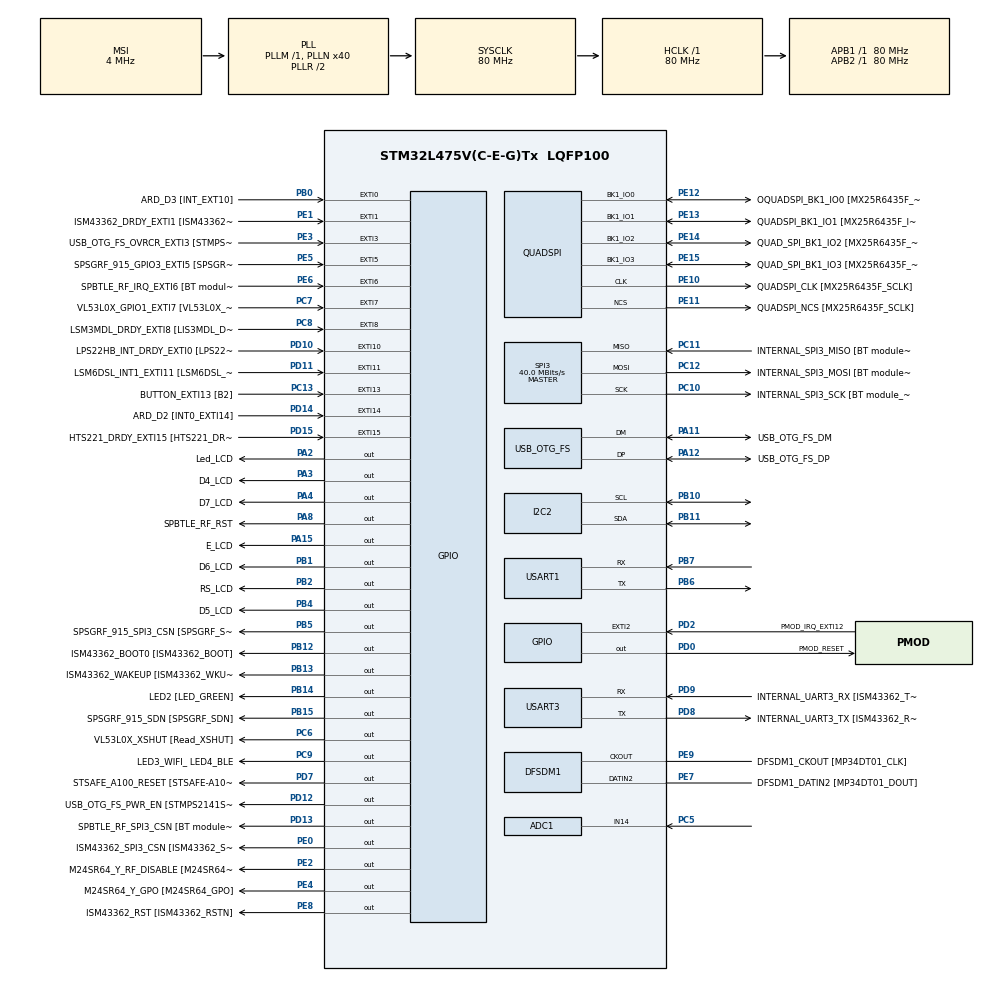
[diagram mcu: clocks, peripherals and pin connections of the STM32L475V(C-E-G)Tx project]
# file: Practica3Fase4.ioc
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ADC1.Channel-1\#ChannelRegularConversion=ADC_CHANNEL_14
ADC1.NbrOfConversionFlag=1
ADC1.OffsetNumber-1\#ChannelRegularConversion=ADC_OFFSET_NONE
ADC1.Rank-1\#ChannelRegularConversion=1
ADC1.SamplingTime-1\#ChannelRegularConversion=ADC_SAMPLETIME_2CYCLES_5
ADC1.master=1
I2C2.Timing=0x10909CEC
Mcu.Family=STM32L4
Mcu.Name=STM32L475V(C-E-G)Tx
Mcu.Package=LQFP100
NVIC.EXTI15_10_IRQn=true\:0\:0\:false\:false\:true\:true\:true\:true
NVIC.EXTI9_5_IRQn=true\:0\:0\:false\:false\:true\:true\:true\:true
NVIC.PriorityGroup=NVIC_PRIORITYGROUP_4
PA0.GPIO_Label=ARD_D1 [UART4_TX]
PA0.Signal=UART4_TX
PA1.GPIO_Label=ARD_D0 [UART4_RX]
PA1.Signal=UART4_RX
PA10.GPIO_Label=USB_OTG_FS_ID
PA10.Signal=USB_OTG_FS_ID
PA11.GPIO_Label=USB_OTG_FS_DM
PA11.Mode=Device_Only
PA11.Signal=USB_OTG_FS_DM
PA12.GPIO_Label=USB_OTG_FS_DP
PA12.Mode=Device_Only
PA12.Signal=USB_OTG_FS_DP
PA13\ (JTMS-SWDIO).GPIO_Label=SYS_JTMS_SWDIO
PA13\ (JTMS-SWDIO).Mode=Serial_Wire
PA13\ (JTMS-SWDIO).Signal=SYS_JTMS-SWDIO
PA14\ (JTCK-SWCLK).GPIO_Label=SYS_JTCK_SWCLK
PA14\ (JTCK-SWCLK).Mode=Serial_Wire
PA14\ (JTCK-SWCLK).Signal=SYS_JTCK-SWCLK
PA15\ (JTDI).GPIO_Label=E_LCD
PA15\ (JTDI).Signal=GPIO_Output
PA2.GPIO_Label=Led_LCD
PA2.Signal=GPIO_Output
PA3.GPIO_Label=D4_LCD
PA3.Signal=GPIO_Output
PA4.GPIO_Label=D7_LCD
PA4.Signal=GPIO_Output
PA5.GPIO_Label=ARD_D13 [SPI1_SCK]
PA5.Signal=SPI1_SCK
PA6.GPIO_Label=ARD_D12 [SPI1_MISO]
PA6.Signal=SPI1_MISO
PA7.GPIO_Label=ARD_D11 [SPI1_MOSI]
PA7.Signal=SPI1_MOSI
PA8.GPIO_Label=SPBTLE_RF_RST
PA8.Signal=GPIO_Output
PA9.GPIO_Label=USB_OTG_FS_VBUS [STMPS2141STR_OUT]
PA9.Signal=USB_OTG_FS_VBUS
PB0.GPIO_Label=ARD_D3 [INT_EXT10]
PB0.Signal=GPXTI0
PB1.GPIO_Label=D6_LCD
PB1.Signal=GPIO_Output
PB10.Mode=I2C
PB10.Signal=I2C2_SCL
PB11.Mode=I2C
PB11.Signal=I2C2_SDA
PB12.GPIO_Label=ISM43362_BOOT0 [ISM43362_BOOT]
PB12.Signal=GPIO_Output
PB13.GPIO_Label=ISM43362_WAKEUP [ISM43362_WKUP]
PB13.Signal=GPIO_Output
PB14.GPIO_Label=LED2 [LED_GREEN]
PB14.Signal=GPIO_Output
PB15.GPIO_Label=SPSGRF_915_SDN [SPSGRF_SDN]
PB15.Signal=GPIO_Output
PB2.GPIO_Label=RS_LCD
PB2.Signal=GPIO_Output
PB3\ (JTDO-TRACESWO).GPIO_Label=SYS_JTD0_SWO
PB3\ (JTDO-TRACESWO).Signal=SYS_JTDO-SWO
PB4\ (NJTRST).GPIO_Label=D5_LCD
PB4\ (NJTRST).Signal=GPIO_Output
PB5.GPIO_Label=SPSGRF_915_SPI3_CSN [SPSGRF_SPI_CS]
PB5.PinState=GPIO_PIN_SET
PB5.Signal=GPIO_Output
PB6.Mode=Asynchronous
PB6.Signal=USART1_TX
PB7.Mode=Asynchronous
PB7.Signal=USART1_RX
PB9.GPIO_Label=ARD_D14 [I2C1_SDA]
PB9.Signal=I2C1_SDA
PC0.GPIO_Label=ARD_A5 [ADC]
PC0.Signal=ADCx_IN1
PC1.GPIO_Label=ARD_A4 [ADC]
PC1.Signal=ADCx_IN2
PC10.GPIO_Label=INTERNAL_SPI3_SCK [BT module_SPI_SCLK] [ISM43362_SCK]
PC10.Mode=Full_Duplex_Master
PC10.Signal=SPI3_SCK
PC11.GPIO_Label=INTERNAL_SPI3_MISO [BT module_SPI_MISO] [ISM43362_MISO]
PC11.Mode=Full_Duplex_Master
PC11.Signal=SPI3_MISO
PC12.GPIO_Label=INTERNAL_SPI3_MOSI [BT module_SPI_MOSI] [ISM43362_MOSI]
PC12.Mode=Full_Duplex_Master
PC12.Signal=SPI3_MOSI
PC13.GPIO_Label=BUTTON_EXTI13 [B2]
PC13.GPIO_ModeDefaultEXTI=GPIO_MODE_IT_FALLING
PC13.Signal=GPXTI13
PC14-OSC32_IN\ (PC14).Mode=LSE-External-Oscillator
PC14-OSC32_IN\ (PC14).Signal=RCC_OSC32_IN
PC15-OSC32_OUT\ (PC15).Mode=LSE-External-Oscillator
PC15-OSC32_OUT\ (PC15).Signal=RCC_OSC32_OUT
PC2.GPIO_Label=ARD_A3 [ADC]
PC2.Signal=ADCx_IN3
PC3.GPIO_Label=ARD_A2 [ADC]
PC3.Signal=ADCx_IN4
PC5.Signal=ADCx_IN14
PC6.GPIO_Label=VL53L0X_XSHUT [Read_XSHUT]
PC6.Signal=GPIO_Output
PC7.GPIO_Label=VL53L0X_GPIO1_EXTI7 [VL53L0X_GPIO1]
PC7.Signal=GPXTI7
PC8.GPIO_Label=LSM3MDL_DRDY_EXTI8 [LIS3MDL_DRDY]
PC8.Signal=GPXTI8
PC9.GPIO_Label=LED3_WIFI_ LED4_BLE
PC9.Signal=GPIO_Output
PD0.GPIO_Label=PMOD_RESET
PD0.Signal=GPIO_Output
PD1.GPIO_Label=PMOD_SPI2_SCK
PD1.Signal=SPI2_SCK
PD10.GPIO_Label=LPS22HB_INT_DRDY_EXTI0 [LPS22HB_INT_DRDY] 
PD10.Signal=GPXTI10
PD11.GPIO_Label=LSM6DSL_INT1_EXTI11 [LSM6DSL_INT1]
PD11.Signal=GPXTI11
PD12.GPIO_Label=USB_OTG_FS_PWR_EN [STMPS2141STR_EN]
PD12.Signal=GPIO_Output
PD13.GPIO_Label=SPBTLE_RF_SPI3_CSN [BT module_SPI_CS]
PD13.PinState=GPIO_PIN_SET
PD13.Signal=GPIO_Output
PD14.GPIO_Label=ARD_D2 [INT0_EXTI14]
PD14.Signal=GPXTI14
PD15.GPIO_Label=HTS221_DRDY_EXTI15 [HTS221_DRDY]
PD15.Signal=GPXTI15
PD2.GPIO_Label=PMOD_IRQ_EXTI12
PD2.Signal=GPXTI2
PD3.GPIO_Label=PMOD_UART2_CTS
PD3.Signal=USART2_CTS
PD4.GPIO_Label=PMOD_UART2_RTS
PD4.Signal=USART2_RTS
PD5.GPIO_Label=PMOD_UART2_TX
PD5.Signal=USART2_TX
PD6.GPIO_Label=PMOD_UART2_RX
PD6.Signal=USART2_RX
PD7.GPIO_Label=STSAFE_A100_RESET [STSAFE-A100_RESET]
PD7.Signal=GPIO_Output
PD8.GPIO_Label=INTERNAL_UART3_TX [ISM43362_RX]
PD8.Mode=Asynchronous
PD8.Signal=USART3_TX
PD9.GPIO_Label=INTERNAL_UART3_RX [ISM43362_TX]
PD9.Mode=Asynchronous
PD9.Signal=USART3_RX
PE0.GPIO_Label=ISM43362_SPI3_CSN [ISM43362_SSN]
PE0.PinState=GPIO_PIN_SET
PE0.Signal=GPIO_Output
PE1.GPIO_Label=ISM43362_DRDY_EXTI1 [ISM43362_DATARDY]
PE1.Signal=GPXTI1
PE10.GPIO_Label=QUADSPI_CLK [MX25R6435F_SCLK]
PE10.Mode=Single Bank
PE10.Signal=QUADSPI_CLK
PE11.GPIO_Label=QUADSPI_NCS [MX25R6435F_SCLK]
PE11.Mode=Single Bank
PE11.Signal=QUADSPI_NCS
PE12.GPIO_Label=OQUADSPI_BK1_IO0 [MX25R6435F_IO0]
PE12.Mode=Single Bank
PE12.Signal=QUADSPI_BK1_IO0
PE13.GPIO_Label=QUADSPI_BK1_IO1 [MX25R6435F_IO1]
PE13.Mode=Single Bank
PE13.Signal=QUADSPI_BK1_IO1
PE14.GPIO_Label=QUAD_SPI_BK1_IO2 [MX25R6435F_IO2]
PE14.Mode=Single Bank
PE14.Signal=QUADSPI_BK1_IO2
PE15.GPIO_Label=QUAD_SPI_BK1_IO3 [MX25R6435F_IO3]
PE15.Mode=Single Bank
PE15.Signal=QUADSPI_BK1_IO3
PE2.GPIO_Label=M24SR64_Y_RF_DISABLE [M24SR64_RFDIS]
PE2.Signal=GPIO_Output
PE3.GPIO_Label=USB_OTG_FS_OVRCR_EXTI3 [STMPS2141STR_FAULT]
PE3.Signal=GPXTI3
PE4.GPIO_Label=M24SR64_Y_GPO [M24SR64_GPO]
PE4.Signal=GPIO_Output
PE5.GPIO_Label=SPSGRF_915_GPIO3_EXTI5 [SPSGRF_GPIO_3]
PE5.Signal=GPXTI5
PE6.GPIO_Label=SPBTLE_RF_IRQ_EXTI6 [BT module_SPI_IRQ]
PE6.Signal=GPXTI6
PE7.GPIO_Label=DFSDM1_DATIN2 [MP34DT01_DOUT]
PE7.Signal=S_DATAIN2DFSDM1
PE8.GPIO_Label=ISM43362_RST [ISM43362_RSTN]
PE8.Signal=GPIO_Output
PE9.GPIO_Label=DFSDM1_CKOUT [MP34DT01_CLK]
PE9.Signal=S_CKOUTDFSDM1
ProjectManager.HeapSize=0x200
ProjectManager.StackSize=0x400
ProjectManager.TargetToolchain=STM32CubeIDE
QUADSPI.ClockPrescaler=2
QUADSPI.FifoThreshold=4
QUADSPI.FlashSize=23
QUADSPI.SampleShifting=QSPI_SAMPLE_SHIFTING_HALFCYCLE
RCC.ADCFreq_Value=48000000
RCC.AHBFreq_Value=80000000
RCC.APB1Freq_Value=80000000
RCC.APB1TimFreq_Value=80000000
RCC.APB2Freq_Value=80000000
RCC.APB2TimFreq_Value=80000000
RCC.CortexFreq_Value=80000000
RCC.HCLKFreq_Value=80000000
RCC.HSE_VALUE=8000000
RCC.HSI_VALUE=16000000
RCC.MSI_VALUE=4000000
RCC.PLLN=40
RCC.PLLSAI1N=24
RCC.SYSCLKFreq_VALUE=80000000
RCC.SYSCLKSource=RCC_SYSCLKSOURCE_PLLCLK
RCC.USBFreq_Value=48000000
RCC.VCOOutputFreq_Value=160000000
SH.ADCx_IN1.0=ADC1_IN1
SH.ADCx_IN14.0=ADC1_IN14,IN14-Single-Ended
SH.ADCx_IN2.0=ADC1_IN2
SH.ADCx_IN3.0=ADC1_IN3
SH.ADCx_IN4.0=ADC1_IN4
SH.S_CKOUTDFSDM1.0=DFSDM1_CKOUT,CKOUT
SH.S_CKOUTDFSDM1.1=DFSDM1_CKOUT,PDM_SPI_Input_from_ch12_and_Internal_Clock
SH.S_DATAIN2DFSDM1.0=DFSDM1_DATIN2,PDM_SPI_Input_from_ch12_and_Internal_Clock
SPI3.CalculateBaudRate=40.0 MBits/s
SPI3.Direction=SPI_DIRECTION_2LINES
SPI3.Mode=SPI_MODE_MASTER
SPI3.VirtualType=VM_MASTER
USART1.VirtualMode-Asynchronous=VM_ASYNC
USART3.VirtualMode-Asynchronous=VM_ASYNC
USB_OTG_FS.VirtualMode=Device_Only
board=B-L475E-IOT01A2

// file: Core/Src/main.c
/* USER CODE BEGIN Header */
/**
  ******************************************************************************
  * @file           : main.c
  * @brief          : Main program body
  ******************************************************************************
  * @attention
  *
  * Copyright (c) 2024 STMicroelectronics.
  * All rights reserved.
  *
  * This software is licensed under terms that can be found in the LICENSE file
  * in the root directory of this software component.
  * If no LICENSE file comes with this software, it is provided AS-IS.
  *
  ******************************************************************************
  */
/* USER CODE END Header */
#include "main.h"

/* USER CODE BEGIN Includes */
#include "hd44780.h"
#include "LPS22.h"
#include "HTS221.h"
#include "float.h"
#include "stdio.h"
/* USER CODE END Includes */

ADC_HandleTypeDef hadc1;

DFSDM_Channel_HandleTypeDef hdfsdm1_channel1;

I2C_HandleTypeDef hi2c2;

QSPI_HandleTypeDef hqspi;

SPI_HandleTypeDef hspi3;

UART_HandleTypeDef huart1;
UART_HandleTypeDef huart3;

PCD_HandleTypeDef hpcd_USB_OTG_FS;

/* USER CODE BEGIN PV */
#ifdef __GNUC__
/* With GCC/RAISONANCE, small printf (option LD Linker->Libraries->Small printf
set to 'Yes') calls __io_putchar() */
#define PUTCHAR_PROTOTYPE int __io_putchar(int ch)
#else
#define PUTCHAR_PROTOTYPE int fputc(int ch, FILE *f)
#endif /* __GNUC__ */
PUTCHAR_PROTOTYPE{
HAL_UART_Transmit(&huart1,(uint8_t *) &ch,1,2);
return ch;
}
/* USER CODE END PV */

void SystemClock_Config(void);
void PeriphCommonClock_Config(void);
static void MX_GPIO_Init(void);
static void MX_DFSDM1_Init(void);
static void MX_QUADSPI_Init(void);
static void MX_SPI3_Init(void);
static void MX_USART3_UART_Init(void);
static void MX_USB_OTG_FS_PCD_Init(void);
static void MX_ADC1_Init(void);
static void MX_I2C2_Init(void);
static void MX_USART1_UART_Init(void);

/* USER CODE BEGIN 0 */
void ini_lcd() {
	lcd_reset();
	lcd_display_settings(1, 0, 0);
	lcd_clear();
}
uint8_t getButton(uint16_t sample) {
	// uint8_t getButton(uint32_t sample)
	// uint8_t getButton(uint16_t sample)
	//da errores si las declaramos de esta forma
	uint8_t res = 0;
	if (sample == 4095) {
		res = 0;
	} else if (sample >= 700 && sample <= 720) {
		// boton up
		res = 2;
	} else if (sample >= 1618 && sample <= 1630) {
		//boton down
		res = 3;
	} else if (sample >= 2380 && sample <= 2400) {
		// boton left
		res = 4;
	} else if (sample >= 3350 && sample <= 3380) {
		// select 3366
		res = 5;
	} else if (sample >= 0 && sample <= 100) {
		//boton right 000
		res = 1;
	}
	return res;
}
/* USER CODE END 0 */

int main(void)
{

  /* MCU Configuration--------------------------------------------------------*/

  /* Reset of all peripherals, Initializes the Flash interface and the Systick. */
  HAL_Init();

  /* Configure the system clock */
  SystemClock_Config();

/* Configure the peripherals common clocks */
  PeriphCommonClock_Config();

  /* Initialize all configured peripherals */
  MX_GPIO_Init();
  MX_DFSDM1_Init();
  MX_QUADSPI_Init();
  MX_SPI3_Init();
  MX_USART3_UART_Init();
  MX_USB_OTG_FS_PCD_Init();
  MX_ADC1_Init();
  MX_I2C2_Init();
  MX_USART1_UART_Init();
  /* USER CODE BEGIN 2 */
  // inicializamos el lcd
  	ini_lcd();
  //inicializamos el LPS22H
  	LPS22_Init();
  	//inicializamos el HTS221_InitSs
  	HTS221_Init();
  /* USER CODE END 2 */

  /* Infinite loop */
  /* USER CODE BEGIN WHILE */
  while (1)
  {

	  float press;
	  float temp;
	  float hum;
	  char str[40];

	  // leemos el boton
		HAL_ADC_Start(&hadc1);
		HAL_ADC_PollForConversion(&hadc1, 100);
		uint16_t sample = HAL_ADC_GetValue(&hadc1);
		uint8_t boton = getButton(sample);
	  // leemos la presion
		press = LPS22_ReadPress();
	  // leemos la temp y humedad
		THSample aux = HTS221_Read();
		temp = aux.temp;
		hum = aux.hum;
		// formateamos y enviamos
	  printf("Pres:%.1hfPA T:%1fC H:%.1f%% B: %d\r\n",press,temp,hum,boton);
	  HAL_UART_Transmit(&huart1, str, strlen(str), 1000);
	  // esperamos
	  	  HAL_Delay(500);
    /* USER CODE END WHILE */

  }
}

void SystemClock_Config(void)
{
  RCC_OscInitTypeDef RCC_OscInitStruct = {0};
  RCC_ClkInitTypeDef RCC_ClkInitStruct = {0};

  /** Configure the main internal regulator output voltage
  */
  if (HAL_PWREx_ControlVoltageScaling(PWR_REGULATOR_VOLTAGE_SCALE1) != HAL_OK)
  {
    Error_Handler();
  }

  /** Configure LSE Drive Capability
  */
  HAL_PWR_EnableBkUpAccess();
  __HAL_RCC_LSEDRIVE_CONFIG(RCC_LSEDRIVE_LOW);

  /** Initializes the RCC Oscillators according to the specified parameters
  * in the RCC_OscInitTypeDef structure.
  */
  RCC_OscInitStruct.OscillatorType = RCC_OSCILLATORTYPE_LSE|RCC_OSCILLATORTYPE_MSI;
  RCC_OscInitStruct.LSEState = RCC_LSE_ON;
  RCC_OscInitStruct.MSIState = RCC_MSI_ON;
  RCC_OscInitStruct.MSICalibrationValue = 0;
  RCC_OscInitStruct.MSIClockRange = RCC_MSIRANGE_6;
  RCC_OscInitStruct.PLL.PLLState = RCC_PLL_ON;
  RCC_OscInitStruct.PLL.PLLSource = RCC_PLLSOURCE_MSI;
  RCC_OscInitStruct.PLL.PLLM = 1;
  RCC_OscInitStruct.PLL.PLLN = 40;
  RCC_OscInitStruct.PLL.PLLP = RCC_PLLP_DIV7;
  RCC_OscInitStruct.PLL.PLLQ = RCC_PLLQ_DIV2;
  RCC_OscInitStruct.PLL.PLLR = RCC_PLLR_DIV2;
  if (HAL_RCC_OscConfig(&RCC_OscInitStruct) != HAL_OK)
  {
    Error_Handler();
  }

  /** Initializes the CPU, AHB and APB buses clocks
  */
  RCC_ClkInitStruct.ClockType = RCC_CLOCKTYPE_HCLK|RCC_CLOCKTYPE_SYSCLK
                              |RCC_CLOCKTYPE_PCLK1|RCC_CLOCKTYPE_PCLK2;
  RCC_ClkInitStruct.SYSCLKSource = RCC_SYSCLKSOURCE_PLLCLK;
  RCC_ClkInitStruct.AHBCLKDivider = RCC_SYSCLK_DIV1;
  RCC_ClkInitStruct.APB1CLKDivider = RCC_HCLK_DIV1;
  RCC_ClkInitStruct.APB2CLKDivider = RCC_HCLK_DIV1;

  if (HAL_RCC_ClockConfig(&RCC_ClkInitStruct, FLASH_LATENCY_4) != HAL_OK)
  {
    Error_Handler();
  }

  /** Enable MSI Auto calibration
  */
  HAL_RCCEx_EnableMSIPLLMode();
}

void PeriphCommonClock_Config(void)
{
  RCC_PeriphCLKInitTypeDef PeriphClkInit = {0};

  /** Initializes the peripherals clock
  */
  PeriphClkInit.PeriphClockSelection = RCC_PERIPHCLK_USB|RCC_PERIPHCLK_ADC;
  PeriphClkInit.AdcClockSelection = RCC_ADCCLKSOURCE_PLLSAI1;
  PeriphClkInit.UsbClockSelection = RCC_USBCLKSOURCE_PLLSAI1;
  PeriphClkInit.PLLSAI1.PLLSAI1Source = RCC_PLLSOURCE_MSI;
  PeriphClkInit.PLLSAI1.PLLSAI1M = 1;
  PeriphClkInit.PLLSAI1.PLLSAI1N = 24;
  PeriphClkInit.PLLSAI1.PLLSAI1P = RCC_PLLP_DIV7;
  PeriphClkInit.PLLSAI1.PLLSAI1Q = RCC_PLLQ_DIV2;
  PeriphClkInit.PLLSAI1.PLLSAI1R = RCC_PLLR_DIV2;
  PeriphClkInit.PLLSAI1.PLLSAI1ClockOut = RCC_PLLSAI1_48M2CLK|RCC_PLLSAI1_ADC1CLK;
  if (HAL_RCCEx_PeriphCLKConfig(&PeriphClkInit) != HAL_OK)
  {
    Error_Handler();
  }
}

static void MX_ADC1_Init(void)
{

  ADC_MultiModeTypeDef multimode = {0};
  ADC_ChannelConfTypeDef sConfig = {0};

  /** Common config
  */
  hadc1.Instance = ADC1;
  hadc1.Init.ClockPrescaler = ADC_CLOCK_ASYNC_DIV1;
  hadc1.Init.Resolution = ADC_RESOLUTION_12B;
  hadc1.Init.DataAlign = ADC_DATAALIGN_RIGHT;
  hadc1.Init.ScanConvMode = ADC_SCAN_DISABLE;
  hadc1.Init.EOCSelection = ADC_EOC_SINGLE_CONV;
  hadc1.Init.LowPowerAutoWait = DISABLE;
  hadc1.Init.ContinuousConvMode = DISABLE;
  hadc1.Init.NbrOfConversion = 1;
  hadc1.Init.DiscontinuousConvMode = DISABLE;
  hadc1.Init.ExternalTrigConv = ADC_SOFTWARE_START;
  hadc1.Init.ExternalTrigConvEdge = ADC_EXTERNALTRIGCONVEDGE_NONE;
  hadc1.Init.DMAContinuousRequests = DISABLE;
  hadc1.Init.Overrun = ADC_OVR_DATA_PRESERVED;
  hadc1.Init.OversamplingMode = DISABLE;
  if (HAL_ADC_Init(&hadc1) != HAL_OK)
  {
    Error_Handler();
  }

  /** Configure the ADC multi-mode
  */
  multimode.Mode = ADC_MODE_INDEPENDENT;
  if (HAL_ADCEx_MultiModeConfigChannel(&hadc1, &multimode) != HAL_OK)
  {
    Error_Handler();
  }

  /** Configure Regular Channel
  */
  sConfig.Channel = ADC_CHANNEL_14;
  sConfig.Rank = ADC_REGULAR_RANK_1;
  sConfig.SamplingTime = ADC_SAMPLETIME_2CYCLES_5;
  sConfig.SingleDiff = ADC_SINGLE_ENDED;
  sConfig.OffsetNumber = ADC_OFFSET_NONE;
  sConfig.Offset = 0;
  if (HAL_ADC_ConfigChannel(&hadc1, &sConfig) != HAL_OK)
  {
    Error_Handler();
  }

}

static void MX_DFSDM1_Init(void)
{

  hdfsdm1_channel1.Instance = DFSDM1_Channel1;
  hdfsdm1_channel1.Init.OutputClock.Activation = ENABLE;
  hdfsdm1_channel1.Init.OutputClock.Selection = DFSDM_CHANNEL_OUTPUT_CLOCK_SYSTEM;
  hdfsdm1_channel1.Init.OutputClock.Divider = 2;
  hdfsdm1_channel1.Init.Input.Multiplexer = DFSDM_CHANNEL_EXTERNAL_INPUTS;
  hdfsdm1_channel1.Init.Input.DataPacking = DFSDM_CHANNEL_STANDARD_MODE;
  hdfsdm1_channel1.Init.Input.Pins = DFSDM_CHANNEL_FOLLOWING_CHANNEL_PINS;
  hdfsdm1_channel1.Init.SerialInterface.Type = DFSDM_CHANNEL_SPI_RISING;
  hdfsdm1_channel1.Init.SerialInterface.SpiClock = DFSDM_CHANNEL_SPI_CLOCK_INTERNAL;
  hdfsdm1_channel1.Init.Awd.FilterOrder = DFSDM_CHANNEL_FASTSINC_ORDER;
  hdfsdm1_channel1.Init.Awd.Oversampling = 1;
  hdfsdm1_channel1.Init.Offset = 0;
  hdfsdm1_channel1.Init.RightBitShift = 0x00;
  if (HAL_DFSDM_ChannelInit(&hdfsdm1_channel1) != HAL_OK)
  {
    Error_Handler();
  }

}

static void MX_I2C2_Init(void)
{

  hi2c2.Instance = I2C2;
  hi2c2.Init.Timing = 0x10909CEC;
  hi2c2.Init.OwnAddress1 = 0;
  hi2c2.Init.AddressingMode = I2C_ADDRESSINGMODE_7BIT;
  hi2c2.Init.DualAddressMode = I2C_DUALADDRESS_DISABLE;
  hi2c2.Init.OwnAddress2 = 0;
  hi2c2.Init.OwnAddress2Masks = I2C_OA2_NOMASK;
  hi2c2.Init.GeneralCallMode = I2C_GENERALCALL_DISABLE;
  hi2c2.Init.NoStretchMode = I2C_NOSTRETCH_DISABLE;
  if (HAL_I2C_Init(&hi2c2) != HAL_OK)
  {
    Error_Handler();
  }

  /** Configure Analogue filter
  */
  if (HAL_I2CEx_ConfigAnalogFilter(&hi2c2, I2C_ANALOGFILTER_ENABLE) != HAL_OK)
  {
    Error_Handler();
  }

  /** Configure Digital filter
  */
  if (HAL_I2CEx_ConfigDigitalFilter(&hi2c2, 0) != HAL_OK)
  {
    Error_Handler();
  }

}

static void MX_QUADSPI_Init(void)
{

  /* QUADSPI parameter configuration*/
  hqspi.Instance = QUADSPI;
  hqspi.Init.ClockPrescaler = 2;
  hqspi.Init.FifoThreshold = 4;
  hqspi.Init.SampleShifting = QSPI_SAMPLE_SHIFTING_HALFCYCLE;
  hqspi.Init.FlashSize = 23;
  hqspi.Init.ChipSelectHighTime = QSPI_CS_HIGH_TIME_1_CYCLE;
  hqspi.Init.ClockMode = QSPI_CLOCK_MODE_0;
  if (HAL_QSPI_Init(&hqspi) != HAL_OK)
  {
    Error_Handler();
  }

}

static void MX_SPI3_Init(void)
{

  /* SPI3 parameter configuration*/
  hspi3.Instance = SPI3;
  hspi3.Init.Mode = SPI_MODE_MASTER;
  hspi3.Init.Direction = SPI_DIRECTION_2LINES;
  hspi3.Init.DataSize = SPI_DATASIZE_4BIT;
  hspi3.Init.CLKPolarity = SPI_POLARITY_LOW;
  hspi3.Init.CLKPhase = SPI_PHASE_1EDGE;
  hspi3.Init.NSS = SPI_NSS_SOFT;
  hspi3.Init.BaudRatePrescaler = SPI_BAUDRATEPRESCALER_2;
  hspi3.Init.FirstBit = SPI_FIRSTBIT_MSB;
  hspi3.Init.TIMode = SPI_TIMODE_DISABLE;
  hspi3.Init.CRCCalculation = SPI_CRCCALCULATION_DISABLE;
  hspi3.Init.CRCPolynomial = 7;
  hspi3.Init.CRCLength = SPI_CRC_LENGTH_DATASIZE;
  hspi3.Init.NSSPMode = SPI_NSS_PULSE_ENABLE;
  if (HAL_SPI_Init(&hspi3) != HAL_OK)
  {
    Error_Handler();
  }

}

static void MX_USART1_UART_Init(void)
{

  huart1.Instance = USART1;
  huart1.Init.BaudRate = 115200;
  huart1.Init.WordLength = UART_WORDLENGTH_8B;
  huart1.Init.StopBits = UART_STOPBITS_1;
  huart1.Init.Parity = UART_PARITY_NONE;
  huart1.Init.Mode = UART_MODE_TX_RX;
  huart1.Init.HwFlowCtl = UART_HWCONTROL_NONE;
  huart1.Init.OverSampling = UART_OVERSAMPLING_16;
  huart1.Init.OneBitSampling = UART_ONE_BIT_SAMPLE_DISABLE;
  huart1.AdvancedInit.AdvFeatureInit = UART_ADVFEATURE_NO_INIT;
  if (HAL_UART_Init(&huart1) != HAL_OK)
  {
    Error_Handler();
  }

}

static void MX_USART3_UART_Init(void)
{

  huart3.Instance = USART3;
  huart3.Init.BaudRate = 115200;
  huart3.Init.WordLength = UART_WORDLENGTH_8B;
  huart3.Init.StopBits = UART_STOPBITS_1;
  huart3.Init.Parity = UART_PARITY_NONE;
  huart3.Init.Mode = UART_MODE_TX_RX;
  huart3.Init.HwFlowCtl = UART_HWCONTROL_NONE;
  huart3.Init.OverSampling = UART_OVERSAMPLING_16;
  huart3.Init.OneBitSampling = UART_ONE_BIT_SAMPLE_DISABLE;
  huart3.AdvancedInit.AdvFeatureInit = UART_ADVFEATURE_NO_INIT;
  if (HAL_UART_Init(&huart3) != HAL_OK)
  {
    Error_Handler();
  }

}

static void MX_USB_OTG_FS_PCD_Init(void)
{

  hpcd_USB_OTG_FS.Instance = USB_OTG_FS;
  hpcd_USB_OTG_FS.Init.dev_endpoints = 6;
  hpcd_USB_OTG_FS.Init.speed = PCD_SPEED_FULL;
  hpcd_USB_OTG_FS.Init.phy_itface = PCD_PHY_EMBEDDED;
  hpcd_USB_OTG_FS.Init.Sof_enable = DISABLE;
  hpcd_USB_OTG_FS.Init.low_power_enable = DISABLE;
  hpcd_USB_OTG_FS.Init.lpm_enable = DISABLE;
  hpcd_USB_OTG_FS.Init.battery_charging_enable = DISABLE;
  hpcd_USB_OTG_FS.Init.use_dedicated_ep1 = DISABLE;
  hpcd_USB_OTG_FS.Init.vbus_sensing_enable = DISABLE;
  if (HAL_PCD_Init(&hpcd_USB_OTG_FS) != HAL_OK)
  {
    Error_Handler();
  }

}

static void MX_GPIO_Init(void)
{
  GPIO_InitTypeDef GPIO_InitStruct = {0};

  /* GPIO Ports Clock Enable */
  __HAL_RCC_GPIOE_CLK_ENABLE();
  __HAL_RCC_GPIOC_CLK_ENABLE();
  __HAL_RCC_GPIOA_CLK_ENABLE();
  __HAL_RCC_GPIOB_CLK_ENABLE();
  __HAL_RCC_GPIOD_CLK_ENABLE();

  /*Configure GPIO pin Output Level */
  HAL_GPIO_WritePin(GPIOE, M24SR64_Y_RF_DISABLE_Pin|M24SR64_Y_GPO_Pin|ISM43362_RST_Pin, GPIO_PIN_RESET);

  /*Configure GPIO pin Output Level */
  HAL_GPIO_WritePin(GPIOA, Led_LCD_Pin|D4_LCD_Pin|D7_LCD_Pin|SPBTLE_RF_RST_Pin
                          |E_LCD_Pin, GPIO_PIN_RESET);

  /*Configure GPIO pin Output Level */
  HAL_GPIO_WritePin(GPIOB, D6_LCD_Pin|RS_LCD_Pin|ISM43362_BOOT0_Pin|ISM43362_WAKEUP_Pin
                          |LED2_Pin|SPSGRF_915_SDN_Pin|D5_LCD_Pin, GPIO_PIN_RESET);

  /*Configure GPIO pin Output Level */
  HAL_GPIO_WritePin(GPIOD, USB_OTG_FS_PWR_EN_Pin|PMOD_RESET_Pin|STSAFE_A100_RESET_Pin, GPIO_PIN_RESET);

  /*Configure GPIO pin Output Level */
  HAL_GPIO_WritePin(SPBTLE_RF_SPI3_CSN_GPIO_Port, SPBTLE_RF_SPI3_CSN_Pin, GPIO_PIN_SET);

  /*Configure GPIO pin Output Level */
  HAL_GPIO_WritePin(GPIOC, VL53L0X_XSHUT_Pin|LED3_WIFI__LED4_BLE_Pin, GPIO_PIN_RESET);

  /*Configure GPIO pin Output Level */
  HAL_GPIO_WritePin(SPSGRF_915_SPI3_CSN_GPIO_Port, SPSGRF_915_SPI3_CSN_Pin, GPIO_PIN_SET);

  /*Configure GPIO pin Output Level */
  HAL_GPIO_WritePin(ISM43362_SPI3_CSN_GPIO_Port, ISM43362_SPI3_CSN_Pin, GPIO_PIN_SET);

  /*Configure GPIO pins : M24SR64_Y_RF_DISABLE_Pin M24SR64_Y_GPO_Pin ISM43362_RST_Pin ISM43362_SPI3_CSN_Pin */
  GPIO_InitStruct.Pin = M24SR64_Y_RF_DISABLE_Pin|M24SR64_Y_GPO_Pin|ISM43362_RST_Pin|ISM43362_SPI3_CSN_Pin;
  GPIO_InitStruct.Mode = GPIO_MODE_OUTPUT_PP;
  GPIO_InitStruct.Pull = GPIO_NOPULL;
  GPIO_InitStruct.Speed = GPIO_SPEED_FREQ_LOW;
  HAL_GPIO_Init(GPIOE, &GPIO_InitStruct);

  /*Configure GPIO pins : USB_OTG_FS_OVRCR_EXTI3_Pin SPSGRF_915_GPIO3_EXTI5_Pin SPBTLE_RF_IRQ_EXTI6_Pin ISM43362_DRDY_EXTI1_Pin */
  GPIO_InitStruct.Pin = USB_OTG_FS_OVRCR_EXTI3_Pin|SPSGRF_915_GPIO3_EXTI5_Pin|SPBTLE_RF_IRQ_EXTI6_Pin|ISM43362_DRDY_EXTI1_Pin;
  GPIO_InitStruct.Mode = GPIO_MODE_IT_RISING;
  GPIO_InitStruct.Pull = GPIO_NOPULL;
  HAL_GPIO_Init(GPIOE, &GPIO_InitStruct);

  /*Configure GPIO pin : BUTTON_EXTI13_Pin */
  GPIO_InitStruct.Pin = BUTTON_EXTI13_Pin;
  GPIO_InitStruct.Mode = GPIO_MODE_IT_FALLING;
  GPIO_InitStruct.Pull = GPIO_NOPULL;
  HAL_GPIO_Init(BUTTON_EXTI13_GPIO_Port, &GPIO_InitStruct);

  /*Configure GPIO pins : ARD_D1_Pin ARD_D0_Pin */
  GPIO_InitStruct.Pin = ARD_D1_Pin|ARD_D0_Pin;
  GPIO_InitStruct.Mode = GPIO_MODE_AF_PP;
  GPIO_InitStruct.Pull = GPIO_NOPULL;
  GPIO_InitStruct.Speed = GPIO_SPEED_FREQ_VERY_HIGH;
  GPIO_InitStruct.Alternate = GPIO_AF8_UART4;
  HAL_GPIO_Init(GPIOA, &GPIO_InitStruct);

  /*Configure GPIO pins : Led_LCD_Pin D4_LCD_Pin D7_LCD_Pin SPBTLE_RF_RST_Pin
                           E_LCD_Pin */
  GPIO_InitStruct.Pin = Led_LCD_Pin|D4_LCD_Pin|D7_LCD_Pin|SPBTLE_RF_RST_Pin
                          |E_LCD_Pin;
  GPIO_InitStruct.Mode = GPIO_MODE_OUTPUT_PP;
  GPIO_InitStruct.Pull = GPIO_NOPULL;
  GPIO_InitStruct.Speed = GPIO_SPEED_FREQ_LOW;
  HAL_GPIO_Init(GPIOA, &GPIO_InitStruct);

  /*Configure GPIO pins : ARD_D13_Pin ARD_D12_Pin ARD_D11_Pin */
  GPIO_InitStruct.Pin = ARD_D13_Pin|ARD_D12_Pin|ARD_D11_Pin;
  GPIO_InitStruct.Mode = GPIO_MODE_AF_PP;
  GPIO_InitStruct.Pull = GPIO_NOPULL;
  GPIO_InitStruct.Speed = GPIO_SPEED_FREQ_VERY_HIGH;
  GPIO_InitStruct.Alternate = GPIO_AF5_SPI1;
  HAL_GPIO_Init(GPIOA, &GPIO_InitStruct);

  /*Configure GPIO pin : ARD_D3_Pin */
  GPIO_InitStruct.Pin = ARD_D3_Pin;
  GPIO_InitStruct.Mode = GPIO_MODE_IT_RISING;
  GPIO_InitStruct.Pull = GPIO_NOPULL;
  HAL_GPIO_Init(ARD_D3_GPIO_Port, &GPIO_InitStruct);

  /*Configure GPIO pins : D6_LCD_Pin RS_LCD_Pin ISM43362_BOOT0_Pin ISM43362_WAKEUP_Pin
                           LED2_Pin SPSGRF_915_SDN_Pin D5_LCD_Pin SPSGRF_915_SPI3_CSN_Pin */
  GPIO_InitStruct.Pin = D6_LCD_Pin|RS_LCD_Pin|ISM43362_BOOT0_Pin|ISM43362_WAKEUP_Pin
                          |LED2_Pin|SPSGRF_915_SDN_Pin|D5_LCD_Pin|SPSGRF_915_SPI3_CSN_Pin;
  GPIO_InitStruct.Mode = GPIO_MODE_OUTPUT_PP;
  GPIO_InitStruct.Pull = GPIO_NOPULL;
  GPIO_InitStruct.Speed = GPIO_SPEED_FREQ_LOW;
  HAL_GPIO_Init(GPIOB, &GPIO_InitStruct);

  /*Configure GPIO pins : LPS22HB_INT_DRDY_EXTI0_Pin LSM6DSL_INT1_EXTI11_Pin ARD_D2_Pin HTS221_DRDY_EXTI15_Pin
                           PMOD_IRQ_EXTI12_Pin */
  GPIO_InitStruct.Pin = LPS22HB_INT_DRDY_EXTI0_Pin|LSM6DSL_INT1_EXTI11_Pin|ARD_D2_Pin|HTS221_DRDY_EXTI15_Pin
                          |PMOD_IRQ_EXTI12_Pin;
  GPIO_InitStruct.Mode = GPIO_MODE_IT_RISING;
  GPIO_InitStruct.Pull = GPIO_NOPULL;
  HAL_GPIO_Init(GPIOD, &GPIO_InitStruct);

  /*Configure GPIO pins : USB_OTG_FS_PWR_EN_Pin SPBTLE_RF_SPI3_CSN_Pin PMOD_RESET_Pin STSAFE_A100_RESET_Pin */
  GPIO_InitStruct.Pin = USB_OTG_FS_PWR_EN_Pin|SPBTLE_RF_SPI3_CSN_Pin|PMOD_RESET_Pin|STSAFE_A100_RESET_Pin;
  GPIO_InitStruct.Mode = GPIO_MODE_OUTPUT_PP;
  GPIO_InitStruct.Pull = GPIO_NOPULL;
  GPIO_InitStruct.Speed = GPIO_SPEED_FREQ_LOW;
  HAL_GPIO_Init(GPIOD, &GPIO_InitStruct);

  /*Configure GPIO pins : VL53L0X_XSHUT_Pin LED3_WIFI__LED4_BLE_Pin */
  GPIO_InitStruct.Pin = VL53L0X_XSHUT_Pin|LED3_WIFI__LED4_BLE_Pin;
  GPIO_InitStruct.Mode = GPIO_MODE_OUTPUT_PP;
  GPIO_InitStruct.Pull = GPIO_NOPULL;
  GPIO_InitStruct.Speed = GPIO_SPEED_FREQ_LOW;
  HAL_GPIO_Init(GPIOC, &GPIO_InitStruct);

  /*Configure GPIO pins : VL53L0X_GPIO1_EXTI7_Pin LSM3MDL_DRDY_EXTI8_Pin */
  GPIO_InitStruct.Pin = VL53L0X_GPIO1_EXTI7_Pin|LSM3MDL_DRDY_EXTI8_Pin;
  GPIO_InitStruct.Mode = GPIO_MODE_IT_RISING;
  GPIO_InitStruct.Pull = GPIO_NOPULL;
  HAL_GPIO_Init(GPIOC, &GPIO_InitStruct);

  /*Configure GPIO pin : PMOD_SPI2_SCK_Pin */
  GPIO_InitStruct.Pin = PMOD_SPI2_SCK_Pin;
  GPIO_InitStruct.Mode = GPIO_MODE_AF_PP;
  GPIO_InitStruct.Pull = GPIO_NOPULL;
  GPIO_InitStruct.Speed = GPIO_SPEED_FREQ_VERY_HIGH;
  GPIO_InitStruct.Alternate = GPIO_AF5_SPI2;
  HAL_GPIO_Init(PMOD_SPI2_SCK_GPIO_Port, &GPIO_InitStruct);

  /*Configure GPIO pins : PMOD_UART2_CTS_Pin PMOD_UART2_RTS_Pin PMOD_UART2_TX_Pin PMOD_UART2_RX_Pin */
  GPIO_InitStruct.Pin = PMOD_UART2_CTS_Pin|PMOD_UART2_RTS_Pin|PMOD_UART2_TX_Pin|PMOD_UART2_RX_Pin;
  GPIO_InitStruct.Mode = GPIO_MODE_AF_PP;
  GPIO_InitStruct.Pull = GPIO_NOPULL;
  GPIO_InitStruct.Speed = GPIO_SPEED_FREQ_VERY_HIGH;
  GPIO_InitStruct.Alternate = GPIO_AF7_USART2;
  HAL_GPIO_Init(GPIOD, &GPIO_InitStruct);

  /*Configure GPIO pin : ARD_D14_Pin */
  GPIO_InitStruct.Pin = ARD_D14_Pin;
  GPIO_InitStruct.Mode = GPIO_MODE_AF_OD;
  GPIO_InitStruct.Pull = GPIO_NOPULL;
  GPIO_InitStruct.Speed = GPIO_SPEED_FREQ_VERY_HIGH;
  GPIO_InitStruct.Alternate = GPIO_AF4_I2C1;
  HAL_GPIO_Init(ARD_D14_GPIO_Port, &GPIO_InitStruct);

  /* EXTI interrupt init*/
  HAL_NVIC_SetPriority(EXTI9_5_IRQn, 0, 0);
  HAL_NVIC_EnableIRQ(EXTI9_5_IRQn);

  HAL_NVIC_SetPriority(EXTI15_10_IRQn, 0, 0);
  HAL_NVIC_EnableIRQ(EXTI15_10_IRQn);

}

void Error_Handler(void)
{
  __disable_irq();
  while (1)
  {
  }
}
